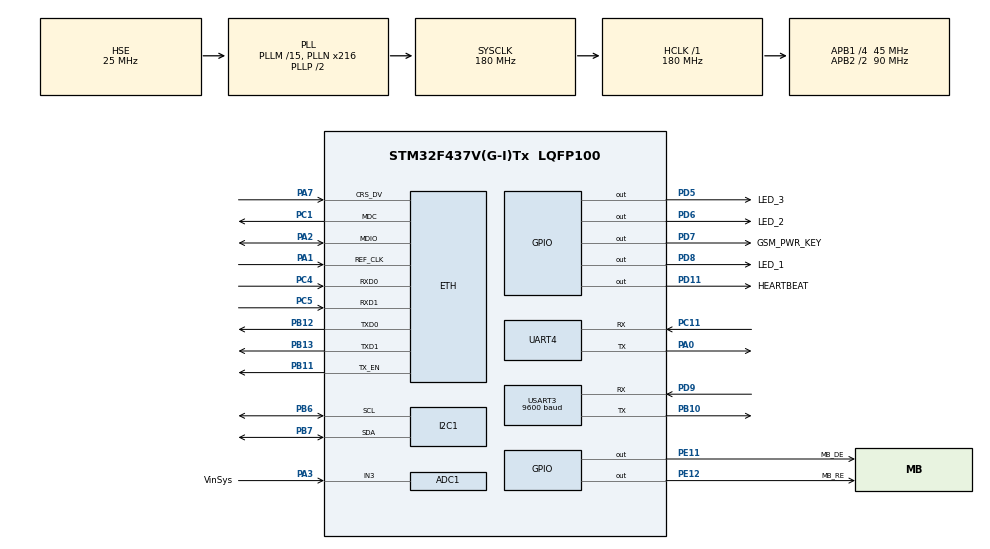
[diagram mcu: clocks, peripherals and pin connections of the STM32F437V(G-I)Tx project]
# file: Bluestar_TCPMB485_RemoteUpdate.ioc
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ADC1.Channel-0\#ChannelRegularConversion=ADC_CHANNEL_VBAT
ADC1.Channel-1\#ChannelRegularConversion=ADC_CHANNEL_3
ADC1.ClockPrescaler=ADC_CLOCK_SYNC_PCLK_DIV8
ADC1.ContinuousConvMode=ENABLE
ADC1.DMAContinuousRequests=ENABLE
ADC1.EOCSelection=ADC_EOC_SEQ_CONV
ADC1.NbrOfConversion=2
ADC1.NbrOfConversionFlag=1
ADC1.Rank-0\#ChannelRegularConversion=1
ADC1.Rank-1\#ChannelRegularConversion=2
ADC1.SamplingTime-0\#ChannelRegularConversion=ADC_SAMPLETIME_480CYCLES
ADC1.SamplingTime-1\#ChannelRegularConversion=ADC_SAMPLETIME_480CYCLES
ADC1.ScanConvMode=ENABLE
ADC1.master=1
Dma.ADC1.0.Direction=DMA_PERIPH_TO_MEMORY
Dma.ADC1.0.FIFOMode=DMA_FIFOMODE_DISABLE
Dma.ADC1.0.Instance=DMA2_Stream4
Dma.ADC1.0.MemDataAlignment=DMA_MDATAALIGN_WORD
Dma.ADC1.0.MemInc=DMA_MINC_ENABLE
Dma.ADC1.0.Mode=DMA_CIRCULAR
Dma.ADC1.0.PeriphDataAlignment=DMA_PDATAALIGN_WORD
Dma.ADC1.0.PeriphInc=DMA_PINC_DISABLE
Dma.ADC1.0.Priority=DMA_PRIORITY_LOW
Dma.Request0=ADC1
ETH.MediaInterface=ETH_MEDIA_INTERFACE_RMII
ETH.PhyAddress=1
IWDG.Prescaler=IWDG_PRESCALER_256
LWIP.GATEWAY_ADDRESS=192.168.001.001
LWIP.IP_ADDRESS=192.168.000.100
LWIP.LWIP_DHCP=0
LWIP.NETMASK_ADDRESS=255.255.255.000
LWIP.Version=v2.0.3_Cube
Mcu.Family=STM32F4
Mcu.Name=STM32F437V(G-I)Tx
Mcu.Package=LQFP100
NVIC.ADC_IRQn=true\:7\:0\:true\:false\:true\:true\:true
NVIC.DMA2_Stream4_IRQn=true\:0\:0\:false\:false\:true\:false\:true
NVIC.FLASH_IRQn=true\:1\:0\:true\:false\:true\:true\:true
NVIC.I2C1_ER_IRQn=true\:0\:0\:false\:false\:true\:true\:true
NVIC.I2C1_EV_IRQn=true\:0\:0\:false\:false\:true\:true\:true
NVIC.PriorityGroup=NVIC_PRIORITYGROUP_4
NVIC.RCC_IRQn=true\:1\:0\:true\:false\:true\:true\:false
NVIC.RTC_Alarm_IRQn=true\:0\:0\:false\:false\:true\:true\:true
NVIC.RTC_WKUP_IRQn=true\:0\:0\:false\:false\:true\:true\:true
NVIC.TIM7_IRQn=true\:1\:0\:true\:false\:true\:true\:true
NVIC.UART4_IRQn=true\:3\:0\:true\:false\:true\:true\:true
NVIC.USART3_IRQn=true\:4\:0\:true\:false\:true\:true\:true
PA0/WKUP.Mode=Asynchronous
PA0/WKUP.Signal=UART4_TX
PA1.Mode=RMII
PA1.Signal=ETH_REF_CLK
PA2.Mode=RMII
PA2.Signal=ETH_MDIO
PA3.GPIO_Label=VinSys
PA3.Signal=ADCx_IN3
PA7.Mode=RMII
PA7.Signal=ETH_CRS_DV
PB10.Mode=Asynchronous
PB10.Signal=USART3_TX
PB11.Mode=RMII
PB11.Signal=ETH_TX_EN
PB12.Mode=RMII
PB12.Signal=ETH_TXD0
PB13.Mode=RMII
PB13.Signal=ETH_TXD1
PB6.Mode=I2C
PB6.Signal=I2C1_SCL
PB7.Mode=I2C
PB7.Signal=I2C1_SDA
PC1.Mode=RMII
PC1.Signal=ETH_MDC
PC11.Mode=Asynchronous
PC11.Signal=UART4_RX
PC4.Mode=RMII
PC4.Signal=ETH_RXD0
PC5.Mode=RMII
PC5.Signal=ETH_RXD1
PD11.GPIO_Label=HEARTBEAT
PD11.Signal=GPIO_Output
PD5.GPIO_Label=LED_3
PD5.Signal=GPIO_Output
PD6.GPIO_Label=LED_2
PD6.Signal=GPIO_Output
PD7.GPIO_Label=GSM_PWR_KEY
PD7.Signal=GPIO_Output
PD8.GPIO_Label=LED_1
PD8.Signal=GPIO_Output
PD9.Mode=Asynchronous
PD9.Signal=USART3_RX
PE11.GPIO_Label=MB_DE
PE11.Signal=GPIO_Output
PE12.GPIO_Label=MB_RE
PE12.Signal=GPIO_Output
PH0/OSC_IN.Mode=HSE-External-Oscillator
PH0/OSC_IN.Signal=RCC_OSC_IN
PH1/OSC_OUT.Mode=HSE-External-Oscillator
PH1/OSC_OUT.Signal=RCC_OSC_OUT
ProjectManager.HeapSize=0x200
ProjectManager.StackSize=0x400
ProjectManager.TargetToolchain=SW4STM32
RCC.48MHZClocksFreq_Value=90000000
RCC.AHBFreq_Value=180000000
RCC.APB1CLKDivider=RCC_HCLK_DIV4
RCC.APB1Freq_Value=45000000
RCC.APB1TimFreq_Value=90000000
RCC.APB2CLKDivider=RCC_HCLK_DIV2
RCC.APB2Freq_Value=90000000
RCC.APB2TimFreq_Value=180000000
RCC.CortexFreq_Value=180000000
RCC.EnbaleCSS=true
RCC.HCLKFreq_Value=180000000
RCC.HSE_VALUE=25000000
RCC.HSICalibrationValue=25
RCC.HSI_VALUE=16000000
RCC.LSE_VALUE=32768
RCC.PLLM=15
RCC.PLLN=216
RCC.PLLSourceVirtual=RCC_PLLSOURCE_HSE
RCC.SYSCLKFreq_VALUE=180000000
RCC.SYSCLKSource=RCC_SYSCLKSOURCE_PLLCLK
RCC.VCOOutputFreq_Value=360000000
RTC.Alarm=RTC_ALARM_A
RTC.AlarmMaskDateWeekDay=RTC_ALARMMASK_DATEWEEKDAY
RTC.AlarmMaskHours=RTC_ALARMMASK_HOURS
RTC.AlarmMaskSeconds=RTC_ALARMMASK_SECONDS
RTC.AsynchPrediv=31
RTC.Date=16
RTC.Minutes_A=30
RTC.Month=RTC_MONTH_MAY
RTC.SynchPrediv=1023
RTC.WakeUpCounter=2047
RTC.Year=22
SH.ADCx_IN3.0=ADC1_IN3,IN3
TIM7.Period=41999
TIM7.Prescaler=1
UART4.VirtualMode=Asynchronous
USART3.BaudRate=9600
USART3.VirtualMode=VM_ASYNC
VP_ADC1_Vbat_Input.Mode=IN-Vbat
VP_IWDG_VS_IWDG.Mode=IWDG_Activate
VP_LWIP_VS_Enabled.Mode=Enabled
VP_RTC_VS_RTC_Activate.Mode=RTC_Enabled
VP_RTC_VS_RTC_Alarm_A_Intern.Mode=Alarm A
VP_RTC_VS_RTC_Calendar.Mode=RTC_Calendar
VP_RTC_VS_RTC_WakeUp_intern.Mode=WakeUp
VP_TIM7_VS_ClockSourceINT.Mode=Enable_Timer
board=custom

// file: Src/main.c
/* USER CODE BEGIN Header */
/**
  ******************************************************************************
  * @file           : main.c
  * @brief          : Main program body
  ******************************************************************************
  * @attention
  *
  * <h2><center>&copy; Copyright (c) 2021 STMicroelectronics.
  * All rights reserved.</center></h2>
  *
  * This software component is licensed by ST under Ultimate Liberty license
  * SLA0044, the "License"; You may not use this file except in compliance with
  * the License. You may obtain a copy of the License at:
  *                             www.st.com/SLA0044
  *
  ******************************************************************************
  */
/* USER CODE END Header */

#include "main.h"
#include "adc.h"
#include "dma.h"
#include "i2c.h"
#include "iwdg.h"
#include "lwip.h"
#include "rtc.h"
#include "tim.h"
#include "usart.h"
#include "gpio.h"

/* USER CODE BEGIN Includes */
#include "applicationdefines.h"
#include "externs.h"
#include <string.h>
#include "user_adc.h"
#include "user_rtc.h"
#include "user_eeprom.h"
#include "user_timer.h"
#include "deviceinfo.h"
#include "modbus_rs485.h"
#include "modbus_tcp.h"
#include "gsmSim7600.h"
#include "payload.h"
#include "queue.h"
#include "user_ethernet.h"
#include "remote_configuration.h"
#include "user_flash.h"
/* USER CODE END Includes */

/* USER CODE BEGIN PV */
uint32_t gu32OnstartEthernetStatusAlert = 0;
extern strctQUEUE gsmPayload;
extern strctGSM gsmInstance;
/* USER CODE END PV */

void SystemClock_Config(void);

int main(void)
{

  /* MCU Configuration--------------------------------------------------------*/

  /* Reset of all peripherals, Initializes the Flash interface and the Systick. */
  HAL_Init();

  /* Configure the system clock */
  SystemClock_Config();

  /* USER CODE BEGIN SysInit */
  /* Check if configuration is present in the memory */
  getLastKnownConfiguration();
  /* USER CODE END SysInit */

  /* Initialize all configured peripherals */
  MX_GPIO_Init();
  MX_DMA_Init();
  MX_IWDG_Init();
  MX_TIM7_Init();
  MX_UART4_Init();
  MX_RTC_Init();
  MX_USART3_UART_Init();
  MX_ADC1_Init();
  MX_LWIP_Init();
  MX_I2C1_Init();
  /* USER CODE BEGIN 2 */
  	updateDeviceSignature();
	HAL_GPIO_WritePin(MB_DE_GPIO_Port,MB_DE_Pin,GPIO_PIN_RESET);
	HAL_GPIO_WritePin(MB_RE_GPIO_Port,MB_RE_Pin,GPIO_PIN_SET);
	HAL_GPIO_WritePin(LED_1_GPIO_Port, LED_1_Pin, GPIO_PIN_RESET);
	HAL_GPIO_WritePin(LED_2_GPIO_Port, LED_2_Pin, GPIO_PIN_RESET);
	HAL_GPIO_WritePin(LED_3_GPIO_Port, LED_3_Pin, GPIO_PIN_RESET);
	HAL_GPIO_WritePin(GSM_PWR_KEY_GPIO_Port,GSM_PWR_KEY_Pin,GPIO_PIN_RESET);

	setupModbus();
	setupModbusRTU();

	if(gu32UploadTimeSupply == 0)
		gu32UploadTimeSupply = TWO_MIN;

	if(gu32UploadTimeBatt == 0)
		gu32UploadTimeBatt = FIVE_MIN;

	enqueue(&gsmPayload,(char *)getSystemConfig());
	HAL_GPIO_WritePin(LED_1_GPIO_Port, LED_1_Pin, GPIO_PIN_SET);	// LED OFF

	LL_USART_EnableIT_RXNE(USART3);
	LL_USART_EnableIT_RXNE(UART4);
	if(HAL_TIM_Base_Start_IT(&htim7)!= HAL_OK)
	{
		Error_Handler();
	}
	/*Added on 28-1-22 . APN from configuration*/
	updateNetworkAPN();
	gu32TempPayloadQueueEnqueue = ONE_MIN;
	memset(gau8TempMBPayloadString,0x00,sizeof(char) * gu32MBDataByteCounterLimit);
	memset(gau8TempMBRTUPayloadString,0x00,sizeof(char) * gu32MBDataByteCounterLimitRTU);

	/* Only For Testing */
//	flashWriteBootSection(enmBOOTSEGMENT_Y_JUMP);
	/* Only For Testing */
//	getNewFirmwareStorageLocation();
  /* USER CODE END 2 */

  /* Infinite loop */
  while (1)
  {

    /* USER CODE BEGIN 3 */
	/********************** Main Application Program ***************************/

	/***** Ethernet  *****/
	MX_LWIP_Process();
	updateEthLinkStatus();
	/*Execute Modbus TCP Poll*/
	if(gu32OperateModbusTCP == 1)
	{
		mbTCPPoll();
		updateModbusPayload();
	}
	/* RTU Poll */
	if(gu32OperateModbus485 == 1)
	{
		modbusQueryFSM();
		uploadSlaveData();
	}
//	if(gu32LinkDownTimer == 0)
//	{
//		/* If no data received on modbus tcp . Take reset */
//		if(gu32MBClientConnectedFlag == 0)
//			while(1);
//		else
//			gu32LinkDownTimer = FIFTEEN_MIN;
//	}

	/***** Internal ADC  *****/
	operateadc();

	/***** Payload Generation  *****/
	if(gu32TempPayloadQueueEnqueue == 0)
	{
		enqueue(&gsmPayload,(char *)getSystemDataString());
		if(gu32InputSupplySwitchedAlert == TRUE)
			gu32TempPayloadQueueEnqueue = TEN_SEC;//gu32UploadTimeBatt;
		else
			gu32TempPayloadQueueEnqueue = gu32UploadTimeSupply;

		if(gu32TempPayloadQueueEnqueue < THIRTY_SEC)
			gu32TempPayloadQueueEnqueue = THIRTY_SEC;
	}

	/***** GSM Module Operation  *****/
	if(gsmInstance.u32GSMTimer > FIVE_MIN)
		gsmInstance.u32GSMTimer = FOUR_SEC;

	if(gu32GSMHangTimer == 0)
		initGSMSIM868();

	if(gu32GSMRestartTimer == 0)
		initGSMSIM868();

	operateGSMSIM868();

	/***** RTC Sync  *****/
	if(gu32RTCUpdateTimer == 0)
	{
//		if(u32GPSTimeSyncFlag == TRUE)
//		{
//			/*Updated GPS Time Stamp Available */
//			syncRTCGPS();
//			u32GPSTimeSyncFlag = FALSE;
//		}
//		else
//		{
//			updateElapsedTime(gu32TimeSyncVariable);
//		}
		//backupRTCCalender();
		gu32RTCUpdateTimer = FIVE_SEC;
	}

	/***** LED Indication  *****/
	if(gu32LedTimer == 0)
	{
		HAL_GPIO_TogglePin(LED_2_GPIO_Port, LED_2_Pin);
		HAL_GPIO_TogglePin(HEARTBEAT_GPIO_Port,HEARTBEAT_Pin);
		if(gu32InputSupplySwitchedAlert == FALSE)
			gu32LedTimer = ONE_SEC;
		else
			gu32LedTimer = FIVE_SEC;
	}
	if(gu32SystemResetTimer == 0 )
	{
		while(1); /* Forced Reset after 30 Mins or unable to upload data */
	}

	/***** Remote Configuration Updates *****/
	verifyRemoteConfiguration();
	parseRemoteconfig();

	/***** Internal Watchdog *****/
	/* Use of Internal WatchDog is mandatory irrespective of logic being implemented
	* Can be explicitly disabled whenever required . */
	/* Refresh IWDT */
	getRTCCalender();
	HAL_IWDG_Refresh(&hiwdg);
  }
  /* USER CODE END 3 */
}

void SystemClock_Config(void)
{
  RCC_OscInitTypeDef RCC_OscInitStruct = {0};
  RCC_ClkInitTypeDef RCC_ClkInitStruct = {0};
  RCC_PeriphCLKInitTypeDef PeriphClkInitStruct = {0};

  /** Configure the main internal regulator output voltage
  */
  __HAL_RCC_PWR_CLK_ENABLE();
  __HAL_PWR_VOLTAGESCALING_CONFIG(PWR_REGULATOR_VOLTAGE_SCALE1);
  /** Initializes the CPU, AHB and APB busses clocks
  */
  RCC_OscInitStruct.OscillatorType = RCC_OSCILLATORTYPE_LSI|RCC_OSCILLATORTYPE_HSE;
  RCC_OscInitStruct.HSEState = RCC_HSE_ON;
  RCC_OscInitStruct.LSIState = RCC_LSI_ON;
  RCC_OscInitStruct.PLL.PLLState = RCC_PLL_ON;
  RCC_OscInitStruct.PLL.PLLSource = RCC_PLLSOURCE_HSE;
  RCC_OscInitStruct.PLL.PLLM = 15;
  RCC_OscInitStruct.PLL.PLLN = 216;
  RCC_OscInitStruct.PLL.PLLP = RCC_PLLP_DIV2;
  RCC_OscInitStruct.PLL.PLLQ = 4;
  if (HAL_RCC_OscConfig(&RCC_OscInitStruct) != HAL_OK)
  {
    Error_Handler();
  }
  /** Activate the Over-Drive mode
  */
  if (HAL_PWREx_EnableOverDrive() != HAL_OK)
  {
    Error_Handler();
  }
  /** Initializes the CPU, AHB and APB busses clocks
  */
  RCC_ClkInitStruct.ClockType = RCC_CLOCKTYPE_HCLK|RCC_CLOCKTYPE_SYSCLK
                              |RCC_CLOCKTYPE_PCLK1|RCC_CLOCKTYPE_PCLK2;
  RCC_ClkInitStruct.SYSCLKSource = RCC_SYSCLKSOURCE_PLLCLK;
  RCC_ClkInitStruct.AHBCLKDivider = RCC_SYSCLK_DIV1;
  RCC_ClkInitStruct.APB1CLKDivider = RCC_HCLK_DIV4;
  RCC_ClkInitStruct.APB2CLKDivider = RCC_HCLK_DIV2;

  if (HAL_RCC_ClockConfig(&RCC_ClkInitStruct, FLASH_LATENCY_5) != HAL_OK)
  {
    Error_Handler();
  }
  PeriphClkInitStruct.PeriphClockSelection = RCC_PERIPHCLK_RTC;
  PeriphClkInitStruct.RTCClockSelection = RCC_RTCCLKSOURCE_LSI;
  if (HAL_RCCEx_PeriphCLKConfig(&PeriphClkInitStruct) != HAL_OK)
  {
    Error_Handler();
  }
  /** Enables the Clock Security System
  */
  HAL_RCC_EnableCSS();
}

void Error_Handler(void)
{
}

/************************ (C) COPYRIGHT STMicroelectronics *****END OF FILE****/
